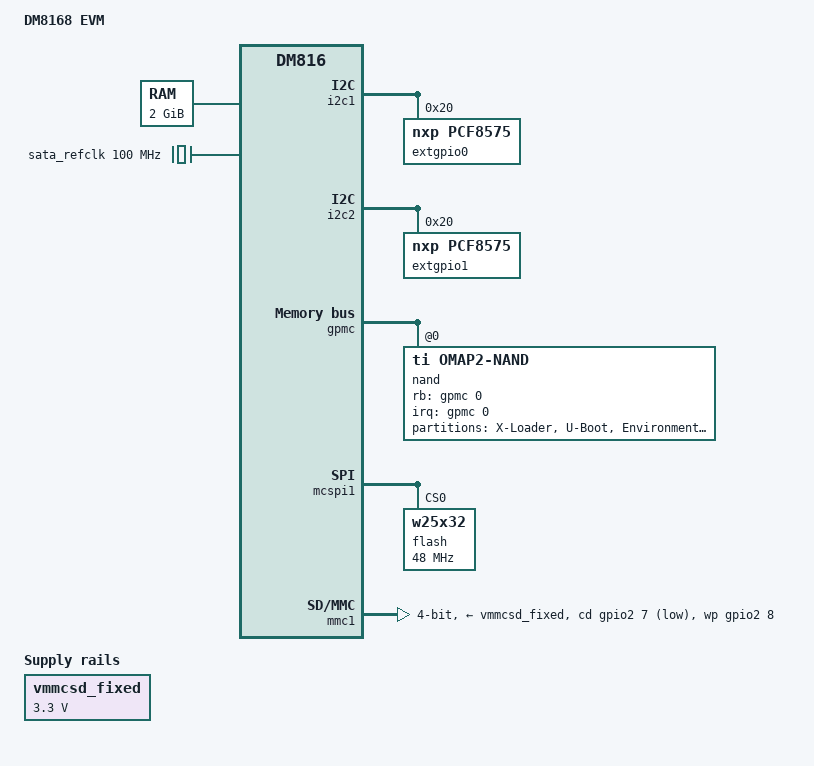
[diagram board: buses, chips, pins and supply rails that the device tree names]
// SPDX-License-Identifier: GPL-2.0-only
/dts-v1/;

#include "dm816x.dtsi"
#include <dt-bindings/interrupt-controller/irq.h>

/ {
	model = "DM8168 EVM";
	compatible = "ti,dm8168-evm", "ti,dm8168", "ti,dm816";

	memory@80000000 {
		device_type = "memory";
		reg = <0x80000000 0x40000000	/* 1 GB */
		       0xc0000000 0x40000000>;	/* 1 GB */
	};

	/* FDC6331L controlled by SD_POW pin */
	vmmcsd_fixed: fixedregulator0 {
		compatible = "regulator-fixed";
		regulator-name = "vmmcsd_fixed";
		regulator-min-microvolt = <3300000>;
		regulator-max-microvolt = <3300000>;
	};

	sata_refclk: fixedclock0 {
		compatible = "fixed-clock";
		#clock-cells = <0>;
		clock-frequency = <100000000>;
	};
};

&dm816x_pinmux {
	mcspi1_pins: mcspi1-pins {
		pinctrl-single,pins = <
			DM816X_IOPAD(0x0a94, MUX_MODE0)			/* SPI_SCLK */
			DM816X_IOPAD(0x0a98, MUX_MODE0)			/* SPI_SCS0 */
			DM816X_IOPAD(0x0aa8, MUX_MODE0)			/* SPI_D0 */
			DM816X_IOPAD(0x0aac, MUX_MODE0)			/* SPI_D1 */
		>;
	};

	mmc_pins: mmc-pins {
		pinctrl-single,pins = <
			DM816X_IOPAD(0x0a70, MUX_MODE0)			/* SD_POW */
			DM816X_IOPAD(0x0a74, MUX_MODE0)			/* SD_CLK */
			DM816X_IOPAD(0x0a78, MUX_MODE0)			/* SD_CMD */
			DM816X_IOPAD(0x0a7C, MUX_MODE0)			/* SD_DAT0 */
			DM816X_IOPAD(0x0a80, MUX_MODE0)			/* SD_DAT1 */
			DM816X_IOPAD(0x0a84, MUX_MODE0)			/* SD_DAT2 */
			DM816X_IOPAD(0x0a88, MUX_MODE0)			/* SD_DAT2 */
			DM816X_IOPAD(0x0a8c, MUX_MODE2)			/* GP1[7] */
			DM816X_IOPAD(0x0a90, MUX_MODE2)			/* GP1[8] */
		>;
	};

	usb0_pins: usb0-pins {
		pinctrl-single,pins = <
			DM816X_IOPAD(0x0d04, MUX_MODE0)			/* USB0_DRVVBUS */
		>;
	};

	usb1_pins: usb1-pins {
		pinctrl-single,pins = <
			DM816X_IOPAD(0x0d08, MUX_MODE0)			/* USB1_DRVVBUS */
		>;
	};

	nandflash_pins: nandflash-pins {
		pinctrl-single,pins = <
			DM816X_IOPAD(0x0b38, PULL_UP | MUX_MODE0)		/* PINCTRL207 GPMC_CS0*/
			DM816X_IOPAD(0x0b60, PULL_ENA | MUX_MODE0)		/* PINCTRL217 GPMC_ADV_ALE */
			DM816X_IOPAD(0x0b54, PULL_UP | PULL_ENA | MUX_MODE0)	/* PINCTRL214 GPMC_OE_RE */
			DM816X_IOPAD(0x0b58, PULL_ENA | MUX_MODE0)		/* PINCTRL215 GPMC_BE0_CLE */
			DM816X_IOPAD(0x0b50, PULL_UP | MUX_MODE0)		/* PINCTRL213 GPMC_WE */
			DM816X_IOPAD(0x0b6c, MUX_MODE0)				/* PINCTRL220 GPMC_WAIT */
			DM816X_IOPAD(0x0be4, PULL_ENA | MUX_MODE0)		/* PINCTRL250 GPMC_CLK */
			DM816X_IOPAD(0x0ba4, MUX_MODE0)				/* PINCTRL234 GPMC_D0 */
			DM816X_IOPAD(0x0ba8, MUX_MODE0)				/* PINCTRL234 GPMC_D1 */
			DM816X_IOPAD(0x0bac, MUX_MODE0)				/* PINCTRL234 GPMC_D2 */
			DM816X_IOPAD(0x0bb0, MUX_MODE0)				/* PINCTRL234 GPMC_D3 */
			DM816X_IOPAD(0x0bb4, MUX_MODE0)				/* PINCTRL234 GPMC_D4 */
			DM816X_IOPAD(0x0bb8, MUX_MODE0)				/* PINCTRL234 GPMC_D5 */
			DM816X_IOPAD(0x0bbc, MUX_MODE0)				/* PINCTRL234 GPMC_D6 */
			DM816X_IOPAD(0x0bc0, MUX_MODE0)				/* PINCTRL234 GPMC_D7 */
			DM816X_IOPAD(0x0bc4, MUX_MODE0)				/* PINCTRL234 GPMC_D8 */
			DM816X_IOPAD(0x0bc8, MUX_MODE0)				/* PINCTRL234 GPMC_D9 */
			DM816X_IOPAD(0x0bcc, MUX_MODE0)				/* PINCTRL234 GPMC_D10 */
			DM816X_IOPAD(0x0bd0, MUX_MODE0)				/* PINCTRL234 GPMC_D11 */
			DM816X_IOPAD(0x0bd4, MUX_MODE0)				/* PINCTRL234 GPMC_D12 */
			DM816X_IOPAD(0x0bd8, MUX_MODE0)				/* PINCTRL234 GPMC_D13 */
			DM816X_IOPAD(0x0bdc, MUX_MODE0)				/* PINCTRL234 GPMC_D14 */
			DM816X_IOPAD(0x0be0, MUX_MODE0)				/* PINCTRL234 GPMC_D15 */
		>;
	};
};

&i2c1 {
	extgpio0: pcf8575@20 {
		compatible = "nxp,pcf8575";
		reg = <0x20>;
		gpio-controller;
		#gpio-cells = <2>;
	};
};

&i2c2 {
	extgpio1: pcf8575@20 {
		compatible = "nxp,pcf8575";
		reg = <0x20>;
		gpio-controller;
		#gpio-cells = <2>;
	};
};

&gpmc {
	ranges = <0 0 0x04000000 0x01000000>;	/* CS0: 16MB for NAND */
	pinctrl-names = "default";
	pinctrl-0 = <&nandflash_pins>;

	nand@0,0 {
		compatible = "ti,omap2-nand";
		reg = <0 0 4>; /* CS0, offset 0, IO size 4 */
		interrupt-parent = <&gpmc>;
		interrupts = <0 IRQ_TYPE_NONE>, /* fifoevent */
			     <1 IRQ_TYPE_NONE>; /* termcount */
		rb-gpios = <&gpmc 0 GPIO_ACTIVE_HIGH>; /* gpmc_wait0 */
		#address-cells = <1>;
		#size-cells = <1>;
		ti,nand-ecc-opt = "bch8";
		ti,elm-id = <&elm>;
		nand-bus-width = <16>;
		gpmc,device-width = <2>;
		gpmc,sync-clk-ps = <0>;
		gpmc,cs-on-ns = <0>;
		gpmc,cs-rd-off-ns = <44>;
		gpmc,cs-wr-off-ns = <44>;
		gpmc,adv-on-ns = <6>;
		gpmc,adv-rd-off-ns = <34>;
		gpmc,adv-wr-off-ns = <44>;
		gpmc,we-on-ns = <0>;
		gpmc,we-off-ns = <40>;
		gpmc,oe-on-ns = <0>;
		gpmc,oe-off-ns = <54>;
		gpmc,access-ns = <64>;
		gpmc,rd-cycle-ns = <82>;
		gpmc,wr-cycle-ns = <82>;
		gpmc,bus-turnaround-ns = <0>;
		gpmc,cycle2cycle-delay-ns = <0>;
		gpmc,clk-activation-ns = <0>;
		gpmc,wr-access-ns = <40>;
		gpmc,wr-data-mux-bus-ns = <0>;
		partition@0 {
			label = "X-Loader";
			reg = <0 0x80000>;
		};
		partition@80000 {
			label = "U-Boot";
			reg = <0x80000 0x1c0000>;
		};
		partition@1c0000 {
			label = "Environment";
			reg = <0x240000 0x40000>;
		};
		partition@280000 {
			label = "Kernel";
			reg = <0x280000 0x500000>;
		};
		partition@780000 {
			label = "Filesystem";
			reg = <0x780000 0xf880000>;
		};
	};
};

&mcspi1 {
	pinctrl-names = "default";
	pinctrl-0 = <&mcspi1_pins>;

	flash@0 {
		compatible = "w25x32";
		spi-max-frequency = <48000000>;
		reg = <0>;
		#address-cells = <1>;
		#size-cells = <1>;
	};
};

&mmc1 {
	pinctrl-names = "default";
	pinctrl-0 = <&mmc_pins>;
	vmmc-supply = <&vmmcsd_fixed>;
	bus-width = <4>;
	cd-gpios = <&gpio2 7 GPIO_ACTIVE_LOW>;
	wp-gpios = <&gpio2 8 GPIO_ACTIVE_HIGH>;
};

/* At least dm8168-evm rev c won't support multipoint, later may */
&usb0 {
	pinctrl-names = "default";
	pinctrl-0 = <&usb0_pins>;
	mentor,multipoint = <0>;
};

&usb1 {
	pinctrl-names = "default";
	pinctrl-0 = <&usb1_pins>;
	mentor,multipoint = <0>;
};

&sata {
	clocks = <&sysclk5_ck>, <&sata_refclk>;
};
